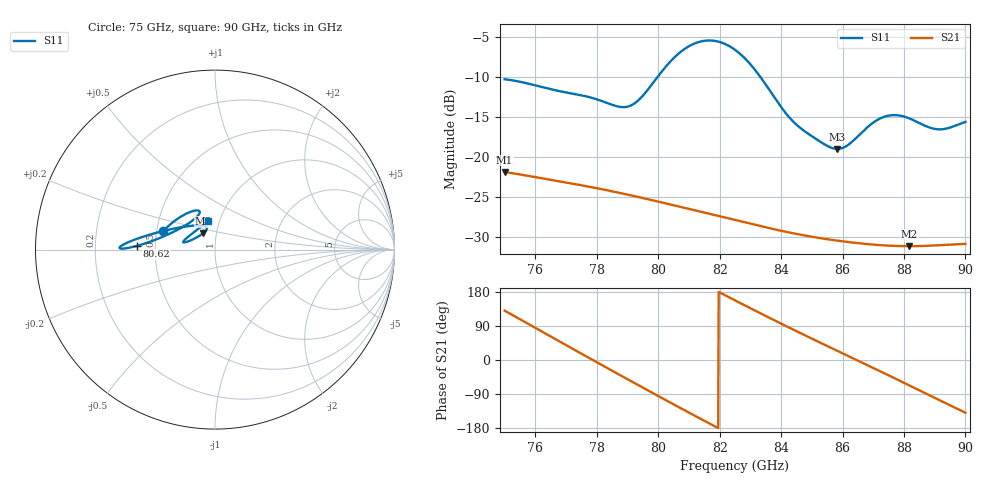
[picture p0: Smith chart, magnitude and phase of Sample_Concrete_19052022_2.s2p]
!SWISSto12 MCK measurement data
!name=Sample_Concrete_19052022_2
!thickness[mm]=18.000
# GHz S RI R 50.0
!freq ReS11 ImS11 ReS21 ImS21 ReS12 ImS12 ReS22 ImS22
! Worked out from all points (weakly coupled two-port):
!   961 points, 75 GHz to 90 GHz, reference 50 ohm
!   highest |S21| = -21.86 dB at 75 GHz (marker M1); lowest = -31.1 dB at 88.17 GHz (marker M2)
!   lowest |S11| = -19.0 dB at 85.83 GHz (marker M3), VSWR 1.25, Z = 43 + j7.84 ohm
!   |S11| at or under -10 dB: start of sweep to 79.98 GHz; 83.32 GHz to end of sweep
!   S12 and S22 are empty: the file has one direction only
!   S11 on the Smith chart (normalised r, x): 75 GHz: 0.54, +0.12; 80.62 GHz: 0.39, +0.02; 90 GHz: 0.88, +0.29
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75  -0.2871 0.1031  -0.0522 0.0615  0 0  0 0
76.14062  -0.2222 0.1618  0.0149 0.0726  0 0  0 0
77.5  -0.1055 0.2182  0.0639 0.0191  0 0  0 0
78.28125  -0.0869 0.2011  0.0591 -0.0198  0 0  0 0
79  -0.1398 0.1513  0.037 -0.0451  0 0  0 0
79.40625  -0.1999 0.1149  0.0203 -0.0522  0 0  0 0
80  -0.3131 0.0623  -0.00466 -0.0526  0 0  0 0
80.625  -0.4338 0.0211  -0.0266 -0.0417  0 0  0 0
81.125  -0.5039 0.00621  -0.0381 -0.0274  0 0  0 0
81.57812  -0.5314 0.00835  -0.0429 -0.0125  0 0  0 0
82.03125  -0.518 0.0238  -0.0425 0.00222  0 0  0 0
82.5  -0.4628 0.0497  -0.0374 0.0156  0 0  0 0
83.125  -0.3427 0.0894  -0.0251 0.0284  0 0  0 0
84.125  -0.1373 0.132  -0.000628 0.0343  0 0  0 0
85  -0.0483 0.1259  0.0176 0.0266  0 0  0 0
85.82812  -0.0673 0.09  0.0275 0.0124  0 0  0 0
86.14062  -0.0911 0.0742  0.0289 0.00626  0 0  0 0
86.98438  -0.1572 0.0431  0.0267 -0.00991  0 0  0 0
87.5  -0.1765 0.0404  0.0213 -0.0182  0 0  0 0
88.17188  -0.1637 0.0592  0.0109 -0.0256  0 0  0 0
89.10938  -0.0955 0.1141  -0.0069 -0.0273  0 0  0 0
90  -0.0368 0.1614  -0.0218 -0.0188  0 0  0 0
